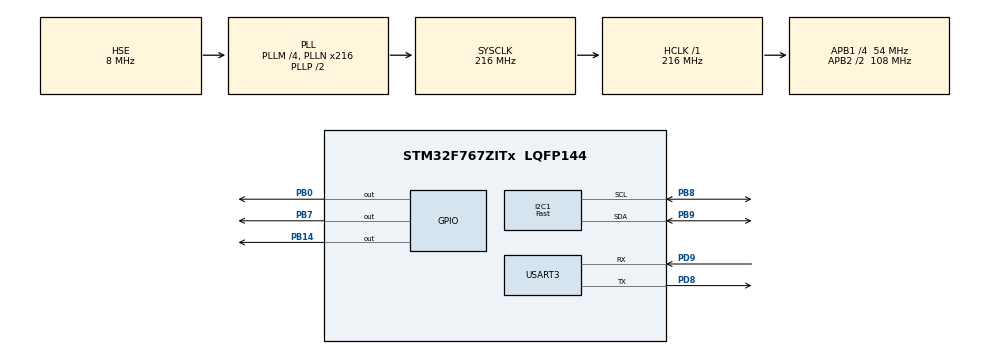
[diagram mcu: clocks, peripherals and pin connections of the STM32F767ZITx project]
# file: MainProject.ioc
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CORTEX_M7.CPU_DCache=Enabled
CORTEX_M7.CPU_ICache=Enabled
I2C1.I2C_Speed_Mode=I2C_Fast
I2C1.Timing=0x6000030D
Mcu.Family=STM32F7
Mcu.Name=STM32F767ZITx
Mcu.Package=LQFP144
NVIC.PriorityGroup=NVIC_PRIORITYGROUP_4
PB0.Signal=GPIO_Output
PB14.Signal=GPIO_Output
PB7.Signal=GPIO_Output
PB8.Mode=I2C
PB8.Signal=I2C1_SCL
PB9.Mode=I2C
PB9.Signal=I2C1_SDA
PD8.Mode=Asynchronous
PD8.Signal=USART3_TX
PD9.Mode=Asynchronous
PD9.Signal=USART3_RX
PH0/OSC_IN.Mode=HSE-External-Clock-Source
PH0/OSC_IN.Signal=RCC_OSC_IN
PH1/OSC_OUT.Mode=HSE-External-Clock-Source
PH1/OSC_OUT.Signal=RCC_OSC_OUT
ProjectManager.HeapSize=0x800
ProjectManager.StackSize=0x800
ProjectManager.TargetToolchain=STM32CubeIDE
RCC.AHBFreq_Value=216000000
RCC.APB1CLKDivider=RCC_HCLK_DIV4
RCC.APB1Freq_Value=54000000
RCC.APB1TimFreq_Value=108000000
RCC.APB2CLKDivider=RCC_HCLK_DIV2
RCC.APB2Freq_Value=108000000
RCC.APB2TimFreq_Value=216000000
RCC.CortexFreq_Value=216000000
RCC.HCLKFreq_Value=216000000
RCC.HSE_VALUE=8000000
RCC.HSI_VALUE=16000000
RCC.LSE_VALUE=32768
RCC.PLLM=4
RCC.PLLN=216
RCC.PLLSourceVirtual=RCC_PLLSOURCE_HSE
RCC.SYSCLKFreq_VALUE=216000000
RCC.SYSCLKSource=RCC_SYSCLKSOURCE_PLLCLK
RCC.USBFreq_Value=216000000
RCC.VCOOutputFreq_Value=432000000
STMicroelectronics.X-CUBE-AI.8.1.0.ActivationBufferSizeList=79600
STMicroelectronics.X-CUBE-AI.8.1.0.ActivationBuffers=pool0
STMicroelectronics.X-CUBE-AI.8.1.0.ActivationNames=pool0
STMicroelectronics.X-CUBE-AI.8.1.0.ActivationSizes=AI_MODEL_DATA_ACTIVATION_1_SIZE
STMicroelectronics.X-CUBE-AI.8.1.0.HeapSize=0x800
STMicroelectronics.X-CUBE-AI.8.1.0.InternalRamActivationBufferMaxSize=AI_MODEL_DATA_ACTIVATIONS_SIZE
STMicroelectronics.X-CUBE-AI.8.1.0.LatestDirectoryUsed-89a308c4fb9bb1a03d1b15a2ea008219c8f31990cd338b7d6ad5d1c02587e3f5=/Users/mac/Dev/Project/ThermalCamera/STM32/Project/WorkSpace/model
STMicroelectronics.X-CUBE-AI.8.1.0.MaximumNumberOfInputLayer=1
STMicroelectronics.X-CUBE-AI.8.1.0.MaximumNumberOfOutputLayer=1
STMicroelectronics.X-CUBE-AI.8.1.0.MaximumSizeOfInputLayer=1
STMicroelectronics.X-CUBE-AI.8.1.0.MaximumSizeOfOutputLayer=1
STMicroelectronics.X-CUBE-AI.8.1.0.ModelActualCompression-89a308c4fb9bb1a03d1b15a2ea008219c8f31990cd338b7d6ad5d1c02587e3f5=0.0
STMicroelectronics.X-CUBE-AI.8.1.0.ModelCompression-89a308c4fb9bb1a03d1b15a2ea008219c8f31990cd338b7d6ad5d1c02587e3f5=None
STMicroelectronics.X-CUBE-AI.8.1.0.ModelFlashOccupation-89a308c4fb9bb1a03d1b15a2ea008219c8f31990cd338b7d6ad5d1c02587e3f5=354978
STMicroelectronics.X-CUBE-AI.8.1.0.ModelHashList=89a308c4fb9bb1a03d1b15a2ea008219c8f31990cd338b7d6ad5d1c02587e3f5
STMicroelectronics.X-CUBE-AI.8.1.0.ModelKind-89a308c4fb9bb1a03d1b15a2ea008219c8f31990cd338b7d6ad5d1c02587e3f5=TFLITE
STMicroelectronics.X-CUBE-AI.8.1.0.ModelMacc-89a308c4fb9bb1a03d1b15a2ea008219c8f31990cd338b7d6ad5d1c02587e3f5=3320188
STMicroelectronics.X-CUBE-AI.8.1.0.ModelName-89a308c4fb9bb1a03d1b15a2ea008219c8f31990cd338b7d6ad5d1c02587e3f5=model
STMicroelectronics.X-CUBE-AI.8.1.0.ModelNameList=model
STMicroelectronics.X-CUBE-AI.8.1.0.ModelRamOccupation-89a308c4fb9bb1a03d1b15a2ea008219c8f31990cd338b7d6ad5d1c02587e3f5=79600
STMicroelectronics.X-CUBE-AI.8.1.0.ModelStructureFile-89a308c4fb9bb1a03d1b15a2ea008219c8f31990cd338b7d6ad5d1c02587e3f5=/Users/mac/Dev/Project/ThermalCamera/STM32/Project/WorkSpace/model/model.tflite
STMicroelectronics.X-CUBE-AI.8.1.0.ModelType-89a308c4fb9bb1a03d1b15a2ea008219c8f31990cd338b7d6ad5d1c02587e3f5=STM32Cube.AI runtime
STMicroelectronics.X-CUBE-AI.8.1.0.ReadyForCodeGeneration=true
STMicroelectronics.X-CUBE-AI.8.1.0.StackSize=0x800
STMicroelectronics.X-CUBE-AI.8.1.0.WorkingBufferStartAddrList=0xFFFFFFFF
STMicroelectronics.X-CUBE-AI.8.1.0.XAaCUBEAaAICcArtificialOoIntelligenceJjCore=true
STMicroelectronics.X-CUBE-AI.8.1.0.copyWeightToRam=false
STMicroelectronics.X-CUBE-AI.8.1.0.copyWeightToRam-89a308c4fb9bb1a03d1b15a2ea008219c8f31990cd338b7d6ad5d1c02587e3f5=false
STMicroelectronics.X-CUBE-AI.8.1.0.customLayerConfigEnabled=false
STMicroelectronics.X-CUBE-AI.8.1.0.customLayerConfigEnabled-89a308c4fb9bb1a03d1b15a2ea008219c8f31990cd338b7d6ad5d1c02587e3f5=false
STMicroelectronics.X-CUBE-AI.8.1.0.noOnnxIoTranspose=false
STMicroelectronics.X-CUBE-AI.8.1.0.noOnnxIoTranspose-89a308c4fb9bb1a03d1b15a2ea008219c8f31990cd338b7d6ad5d1c02587e3f5=false
STMicroelectronics.X-CUBE-AI.8.1.0.outputDirectory=/Users/mac/.stm32cubemx/model_output
STMicroelectronics.X-CUBE-AI.8.1.0.outputDirectory-89a308c4fb9bb1a03d1b15a2ea008219c8f31990cd338b7d6ad5d1c02587e3f5=/Users/mac/.stm32cubemx/model_output
STMicroelectronics.X-CUBE-AI.8.1.0.useInputAllocation=true
STMicroelectronics.X-CUBE-AI.8.1.0.useInputAllocation-89a308c4fb9bb1a03d1b15a2ea008219c8f31990cd338b7d6ad5d1c02587e3f5=true
STMicroelectronics.X-CUBE-AI.8.1.0.useOutputAllocation=true
STMicroelectronics.X-CUBE-AI.8.1.0.useOutputAllocation-89a308c4fb9bb1a03d1b15a2ea008219c8f31990cd338b7d6ad5d1c02587e3f5=true
USART3.VirtualMode-Asynchronous=VM_ASYNC
VP_CRC_VS_CRC.Mode=CRC_Activate
VP_STMicroelectronics.X-CUBE-AI_VS_ArtificialOoIntelligenceJjXAaCUBEAaAI_8.1.0.Mode=ArtificialOoIntelligenceJjXAaCUBEAaAI
board=custom

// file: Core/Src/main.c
/* USER CODE BEGIN Header */
/**
  ******************************************************************************
  * @file           : main.c
  * @brief          : Main program body
  ******************************************************************************
  * @attention
  *
  * Copyright (c) 2024 STMicroelectronics.
  * All rights reserved.
  *
  * This software is licensed under terms that can be found in the LICENSE file
  * in the root directory of this software component.
  * If no LICENSE file comes with this software, it is provided AS-IS.
  *
  ******************************************************************************
  */
/* USER CODE END Header */
#include "main.h"
#include "crc.h"
#include "i2c.h"
#include "usart.h"
#include "gpio.h"

/* USER CODE BEGIN Includes */
#include <stdint.h>
#include <stdlib.h>
#include <stdio.h>
#include <inttypes.h>
#include <string.h>
#include "ai_datatypes_defines.h"
#include "model.h"
#include "model_data.h"

#include "MLX90640_API.h"
#include <float.h>
#include <math.h>

#include "dataset.h"
/* USER CODE END Includes */

/* USER CODE BEGIN PD */

#define HEIGHT 24
#define WIDTH 32

#define FRAME_SIZE (HEIGHT * WIDTH)

#define  FPS2HZ   0x02
#define  FPS4HZ   0x03
#define  FPS8HZ   0x04
#define  FPS16HZ  0x05
#define  FPS32HZ  0x06

#define  MLX90640_ADDR 0x33
#define	 RefreshRate FPS8HZ
#define  TA_SHIFT 8 //Default shift for MLX90640 in open air

#define REDUCED_ROWS 12
#define REDUCED_COLS 16
#define OPENAIR_TA_SHIFT 8

/* USER CODE END PD */

/* USER CODE BEGIN PV */

#if !defined(AI_MODEL_INPUTS_IN_ACTIVATIONS)
AI_ALIGNED(4) ai_i8 data_in_1[AI_MODEL_IN_1_SIZE_BYTES];
ai_i8* data_ins[AI_MODEL_IN_NUM] = {data_in_1};
#else
ai_i8* data_ins[AI_MODEL_IN_NUM] = {NULL};
#endif

#if !defined(AI_MODEL_OUTPUTS_IN_ACTIVATIONS)
AI_ALIGNED(4) ai_i8 data_out_1[AI_MODEL_OUT_1_SIZE_BYTES];
ai_i8* data_outs[AI_MODEL_OUT_NUM] = {data_out_1};
#else
ai_i8* data_outs[AI_MODEL_OUT_NUM] = {NULL};
#endif

AI_ALIGNED(32) static uint8_t pool0[AI_MODEL_DATA_ACTIVATION_1_SIZE];

ai_handle data_activations0[] = {pool0};

static ai_handle model = AI_HANDLE_NULL;

static ai_buffer* ai_input;
static ai_buffer* ai_output;

int max_index = 0;

float ai_input_data[HEIGHT][WIDTH][1];
float input_data[HEIGHT][WIDTH][1];
float output_data[HEIGHT][WIDTH][1];

static uint16_t mlx90640Frame[834];
float mlx90640To[768]; // 32x24 pixels

static uint16_t eeMLX90640[832];
float mlx90640To[FRAME_SIZE];
const int output_size = 5;
float* output_value;

float frameBuffer[HEIGHT][WIDTH];
float preprocessedFrame[HEIGHT][WIDTH];
uint16_t frame[834];

int status;

float emissivity = 0.95;
float tr = 23.15;

paramsMLX90640 mlx90640;
/* USER CODE END PV */

void SystemClock_Config(void);

/* USER CODE BEGIN 0 */
static void ai_log_err(const ai_error err, const char *fct);
static int ai_boostrap(ai_handle *act_addr);
void AI_Init(void);
int argmax(float* array, int size);
void transform_to_4d(const float input[][WIDTH], float transformed_input[1][HEIGHT][WIDTH][1]);

void getFrame(float framebuf[HEIGHT][WIDTH]);
void captureAndPreprocessFrame(float (*frameBuffer)[WIDTH], float (*outputBuffer)[WIDTH]);

void displayNumber(int number) {

    HAL_GPIO_WritePin(GPIOB, GPIO_PIN_0, GPIO_PIN_RESET);
    HAL_GPIO_WritePin(GPIOB, GPIO_PIN_7, GPIO_PIN_RESET);
    HAL_GPIO_WritePin(GPIOB, GPIO_PIN_14, GPIO_PIN_RESET);

    if(number == 0) {
        // 0: 모든 LED 꺼짐
    } else if(number == 1) {
        // 1: LED1 켜짐
        HAL_GPIO_WritePin(GPIOB, GPIO_PIN_0, GPIO_PIN_SET);
    } else if(number == 2) {
        // 2: LED2 켜짐
        HAL_GPIO_WritePin(GPIOB, GPIO_PIN_7, GPIO_PIN_SET);
    } else if(number == 3) {
        // 3: LED1�??? LED2 켜짐
        HAL_GPIO_WritePin(GPIOB, GPIO_PIN_0, GPIO_PIN_SET);
        HAL_GPIO_WritePin(GPIOB, GPIO_PIN_7, GPIO_PIN_SET);
    } else if(number == 4) {
        HAL_GPIO_WritePin(GPIOB, GPIO_PIN_14, GPIO_PIN_SET);
    }
    else{ // error
        HAL_GPIO_WritePin(GPIOB, GPIO_PIN_0, GPIO_PIN_SET);
        HAL_GPIO_WritePin(GPIOB, GPIO_PIN_7, GPIO_PIN_SET);
        HAL_GPIO_WritePin(GPIOB, GPIO_PIN_14, GPIO_PIN_SET);
    }
}

/* USER CODE END 0 */

int main(void)
{

  /* Enable the CPU Cache */

  /* Enable I-Cache---------------------------------------------------------*/
  SCB_EnableICache();

  /* Enable D-Cache---------------------------------------------------------*/
  SCB_EnableDCache();

  /* MCU Configuration--------------------------------------------------------*/

  /* Reset of all peripherals, Initializes the Flash interface and the Systick. */
  HAL_Init();

  /* Configure the system clock */
  SystemClock_Config();

  /* Initialize all configured peripherals */
  MX_GPIO_Init();
  MX_USART3_UART_Init();
  MX_CRC_Init();
  MX_I2C1_Init();
  /* USER CODE BEGIN 2 */
  AI_Init();

  MLX90640_SetRefreshRate(MLX90640_ADDR, RefreshRate);
  MLX90640_SetChessMode(MLX90640_ADDR);

  status = MLX90640_DumpEE(MLX90640_ADDR, eeMLX90640);
  if (status != 0) printf("\r\nload system parameters error with code:%d\r\n",status);
  status = MLX90640_ExtractParameters(eeMLX90640, &mlx90640);
  if (status != 0) printf("\r\nParameter extraction failed with error code:%d\r\n",status);

  HAL_GPIO_WritePin(GPIOB, GPIO_PIN_0, GPIO_PIN_RESET);
  HAL_GPIO_WritePin(GPIOB, GPIO_PIN_7, GPIO_PIN_RESET);
  HAL_GPIO_WritePin(GPIOB, GPIO_PIN_14, GPIO_PIN_RESET);

  /* USER CODE END 2 */

  /* Infinite loop */
  /* USER CODE BEGIN WHILE */
  while (1)
  {
	  // I.0      (1,24,32,1)/float32     0.000   1.000    0.236    0.194 input_1
	  // O.0      (1,1,1,5)/float32       0.000   0.999    0.200    0.365 output_1
	  getFrame(frameBuffer);
	  captureAndPreprocessFrame(frameBuffer, preprocessedFrame);

	  float transformed_input[1][HEIGHT][WIDTH][1];
	  transform_to_4d(preprocessedFrame, transformed_input);

	  memcpy(data_ins[0], transformed_input, sizeof(float) * 1 * 24 * 32 * 1);

	  if (ai_model_run(model, ai_input, ai_output) != 1) {
	        ai_log_err(ai_model_get_error(model), "ai_model_run");
	        return -1;
	      }

	  output_value = (float*)data_outs[0];

	  int max_index = argmax(output_value, output_size);
	  printf("Max index: %d\n", max_index);
	  displayNumber(max_index);

    /* USER CODE END WHILE */

  }
}

void SystemClock_Config(void)
{
  RCC_OscInitTypeDef RCC_OscInitStruct = {0};
  RCC_ClkInitTypeDef RCC_ClkInitStruct = {0};

  /** Configure the main internal regulator output voltage
  */
  __HAL_RCC_PWR_CLK_ENABLE();
  __HAL_PWR_VOLTAGESCALING_CONFIG(PWR_REGULATOR_VOLTAGE_SCALE1);

  /** Initializes the RCC Oscillators according to the specified parameters
  * in the RCC_OscInitTypeDef structure.
  */
  RCC_OscInitStruct.OscillatorType = RCC_OSCILLATORTYPE_HSE;
  RCC_OscInitStruct.HSEState = RCC_HSE_BYPASS;
  RCC_OscInitStruct.PLL.PLLState = RCC_PLL_ON;
  RCC_OscInitStruct.PLL.PLLSource = RCC_PLLSOURCE_HSE;
  RCC_OscInitStruct.PLL.PLLM = 4;
  RCC_OscInitStruct.PLL.PLLN = 216;
  RCC_OscInitStruct.PLL.PLLP = RCC_PLLP_DIV2;
  RCC_OscInitStruct.PLL.PLLQ = 2;
  RCC_OscInitStruct.PLL.PLLR = 2;
  if (HAL_RCC_OscConfig(&RCC_OscInitStruct) != HAL_OK)
  {
    Error_Handler();
  }

  /** Activate the Over-Drive mode
  */
  if (HAL_PWREx_EnableOverDrive() != HAL_OK)
  {
    Error_Handler();
  }

  /** Initializes the CPU, AHB and APB buses clocks
  */
  RCC_ClkInitStruct.ClockType = RCC_CLOCKTYPE_HCLK|RCC_CLOCKTYPE_SYSCLK
                              |RCC_CLOCKTYPE_PCLK1|RCC_CLOCKTYPE_PCLK2;
  RCC_ClkInitStruct.SYSCLKSource = RCC_SYSCLKSOURCE_PLLCLK;
  RCC_ClkInitStruct.AHBCLKDivider = RCC_SYSCLK_DIV1;
  RCC_ClkInitStruct.APB1CLKDivider = RCC_HCLK_DIV4;
  RCC_ClkInitStruct.APB2CLKDivider = RCC_HCLK_DIV2;

  if (HAL_RCC_ClockConfig(&RCC_ClkInitStruct, FLASH_LATENCY_7) != HAL_OK)
  {
    Error_Handler();
  }
}

/* USER CODE BEGIN 4 */

static void ai_log_err(const ai_error err, const char *fct)
{
  /* USER CODE BEGIN log */
  if (fct)
    printf("TEMPLATE - Error (%s) - type=0x%02x code=0x%02x\r\n", fct,
        err.type, err.code);
  else
    printf("TEMPLATE - Error - type=0x%02x code=0x%02x\r\n", err.type, err.code);

  do {} while (1);
  /* USER CODE END log */
}

static int ai_boostrap(ai_handle *act_addr)
{
  ai_error err;

  /* Create and initialize an instance of the model */
  err = ai_model_create_and_init(&model, act_addr, NULL);
  if (err.type != AI_ERROR_NONE) {
    ai_log_err(err, "ai_model_create_and_init");
    return -1;
  }

  ai_input = ai_model_inputs_get(model, NULL);
  ai_output = ai_model_outputs_get(model, NULL);

#if defined(AI_MODEL_INPUTS_IN_ACTIVATIONS)
  /*  In the case where "--allocate-inputs" option is used, memory buffer can be
   *  used from the activations buffer. This is not mandatory.
   */
  for (int idx=0; idx < AI_MODEL_IN_NUM; idx++) {
	data_ins[idx] = ai_input[idx].data;
  }
#else
  for (int idx=0; idx < AI_MODEL_IN_NUM; idx++) {
	  ai_input[idx].data = data_ins[idx];
  }
#endif

#if defined(AI_MODEL_OUTPUTS_IN_ACTIVATIONS)
  /*  In the case where "--allocate-outputs" option is used, memory buffer can be
   *  used from the activations buffer. This is no mandatory.
   */
  for (int idx=0; idx < AI_MODEL_OUT_NUM; idx++) {
	data_outs[idx] = ai_output[idx].data;
  }
#else
  for (int idx=0; idx < AI_MODEL_OUT_NUM; idx++) {
	ai_output[idx].data = data_outs[idx];
  }
#endif

  return 0;
}

void AI_Init(void)
{
    /* USER CODE BEGIN 5 */
  printf("\r\nTEMPLATE - initialization\r\n");

  ai_boostrap(data_activations0);
    /* USER CODE END 5 */
}

int argmax(float* array, int size) {
    int max_index = 0;
    for (int i = 1; i < size; i++) {
        if (array[i] > array[max_index]) {
            max_index = i;
        }
    }
    return max_index;
}

void transform_to_4d(const float input[][WIDTH], float transformed_input[1][HEIGHT][WIDTH][1]) {
    for (int h = 0; h < HEIGHT; h++) {
        for (int w = 0; w < WIDTH; w++) {
            transformed_input[0][h][w][0] = input[h][w] / 255.0f;
        }
    }
}

void captureAndPreprocessFrame(float (*frameBuffer)[WIDTH], float (*outputBuffer)[WIDTH]) {
    float minVal = FLT_MAX, maxVal = -FLT_MAX;

    for (int i = 0; i < HEIGHT; i++) {
        for (int j = 0; j < WIDTH; j++) {
            float val = frameBuffer[i][j];
            if (val < minVal) minVal = val;
            if (val > maxVal) maxVal = val;
        }
    }

    for (int i = 0; i < HEIGHT; i++) {
        for (int j = 0; j < WIDTH; j++) {
            outputBuffer[i][j] = (frameBuffer[i][j] - minVal) / (maxVal - minVal) * 255.0f;
        }
    }
}

void getFrame(float framebuf[HEIGHT][WIDTH]) {
	float emissivity = 0.95;
	float tr = 23.15;
    for (int i = 0; i < 2; i++) {
        int status = MLX90640_GetFrameData(MLX90640_ADDR, mlx90640Frame);
        if (status < 0) {
            printf("Frame data fetch error: %d\n", status);
            return;
        }
        tr = MLX90640_GetTa(mlx90640Frame, &mlx90640) - TA_SHIFT;
        MLX90640_CalculateTo(mlx90640Frame, &mlx90640, emissivity, tr, mlx90640To);
//        MLX90640_BadPixelsCorrection(mlx90640.brokenPixels, mlx90640To, 1, &mlx90640);
//        MLX90640_BadPixelsCorrection(mlx90640.outlierPixels, mlx90640To, 1, &mlx90640);
    }

    float minTemp = FLT_MAX, maxTemp = -FLT_MAX;
    for (int i = 0; i < HEIGHT * WIDTH; i++) {
        if (mlx90640To[i] < minTemp) minTemp = mlx90640To[i];
        if (mlx90640To[i] > maxTemp) maxTemp = mlx90640To[i];
    }

    for (int i = 0; i < HEIGHT; i++) {
        for (int j = 0; j < WIDTH; j++) {
            float temp = mlx90640To[i * WIDTH + j];
            framebuf[i][j] = (temp - minTemp) / (maxTemp - minTemp) * 255.0;
        }
    }
}

/* USER CODE END 4 */

void Error_Handler(void)
{
  __disable_irq();
  while (1)
  {
  }
}
